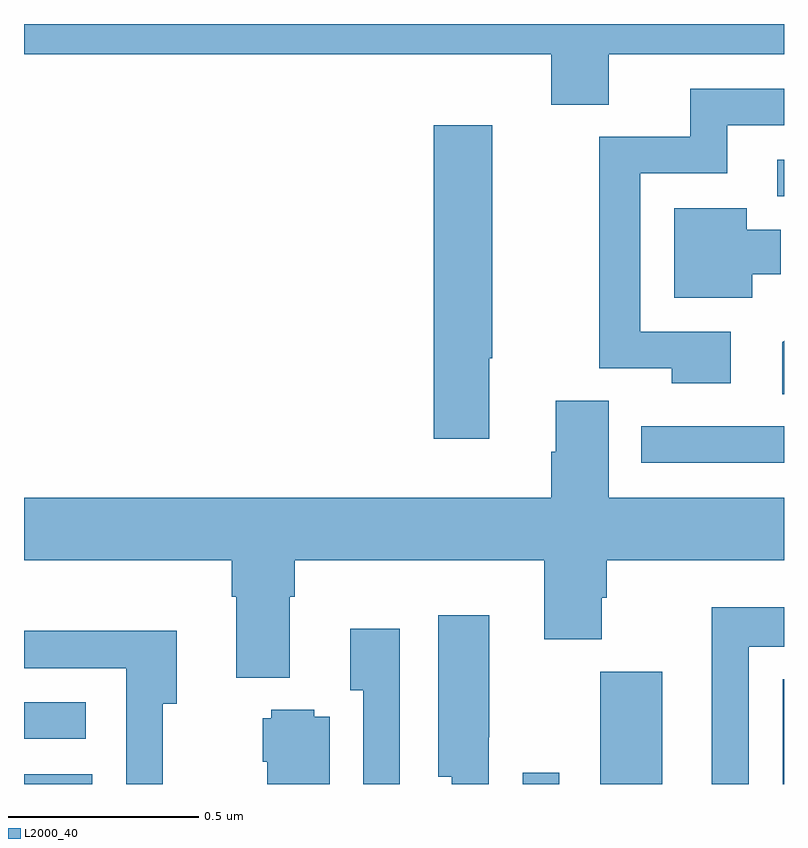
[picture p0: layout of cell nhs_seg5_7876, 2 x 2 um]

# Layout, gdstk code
import gdstk
lib = gdstk.Library(unit=1e-6, precision=1e-09)
def R(c, l, rs):  # rectangles x0, y0, x1, y1
    for r in rs: c.add(gdstk.rectangle(r[:2], r[2:], *l))
def P(c, l, *ps):  # polygons
    for p in ps: c.add(gdstk.Polygon(p, *l))
L2000_40 = (2000, 40)

nhs_seg5_7876 = lib.new_cell('nhs_seg5_7876')
R(nhs_seg5_7876, L2000_40, [(214,894.799,214.18,894.825), (215.313,894.799,215.409,894.829), (215.516,894.799,215.68,895.095), (215.997,894.799,216,895.075), (214,894.918,214.162,895.014), (215.624,895.644,216,895.74), (215.982,896.346,216,896.442)])
P(nhs_seg5_7876, L2000_40, [(215.539,896.72),(216,896.72),(216,896.799),(214,896.799),(214,896.72),(215.387,896.72),(215.387,896.587),(215.539,896.587)],
  [(215.86,895.989),(215.622,895.989),(215.622,896.406),(215.851,896.406),(215.851,896.532),(216,896.532),(216,896.628),(215.753,896.628),(215.753,896.502),(215.514,896.502),(215.514,895.893),(215.704,895.893),(215.704,895.853),(215.86,895.853)],
  [(215.224,895.919),(215.232,895.919),(215.232,896.533),(215.078,896.533),(215.078,895.707),(215.224,895.707)],
  [(215.917,896.141),(215.992,896.141),(215.992,896.257),(215.902,896.257),(215.902,896.314),(215.711,896.314),(215.711,896.078),(215.917,896.078)],
  [(216,895.966),(215.995,895.961),(215.995,895.825),(216,895.825)],
  [(214.699,895.292),(214.712,895.292),(214.712,895.388),(215.369,895.388),(215.369,895.18),(215.521,895.18),(215.521,895.289),(215.534,895.289),(215.534,895.388),(216,895.388),(216,895.552),(215.539,895.552),(215.539,895.808),(215.399,895.808),(215.399,895.674),(215.387,895.674),(215.387,895.552),(214,895.552),(214,895.388),(214.547,895.388),(214.547,895.292),(214.559,895.292),(214.559,895.079),(214.699,895.079)],
  [(215.907,895.16),(216,895.16),(216,895.264),(215.81,895.264),(215.81,894.799),(215.907,894.799)],
  [(215.223,894.922),(215.224,894.922),(215.224,895.243),(215.09,895.243),(215.09,894.818),(215.126,894.818),(215.126,894.799),(215.223,894.799)],
  [(214.989,895.207),(214.859,895.207),(214.859,895.046),(214.893,895.046),(214.893,894.799),(214.989,894.799)],
  [(214.365,895.01),(214.402,895.01),(214.402,895.202),(214,895.202),(214,895.104),(214.269,895.104),(214.269,894.799),(214.365,894.799)],
  [(214.804,894.976),(214.764,894.976),(214.764,894.994),(214.65,894.994),(214.65,894.972),(214.628,894.972),(214.628,894.858),(214.64,894.858),(214.64,894.799),(214.804,894.799)])

lib.write_gds('nhs_seg5_7876.gds')
